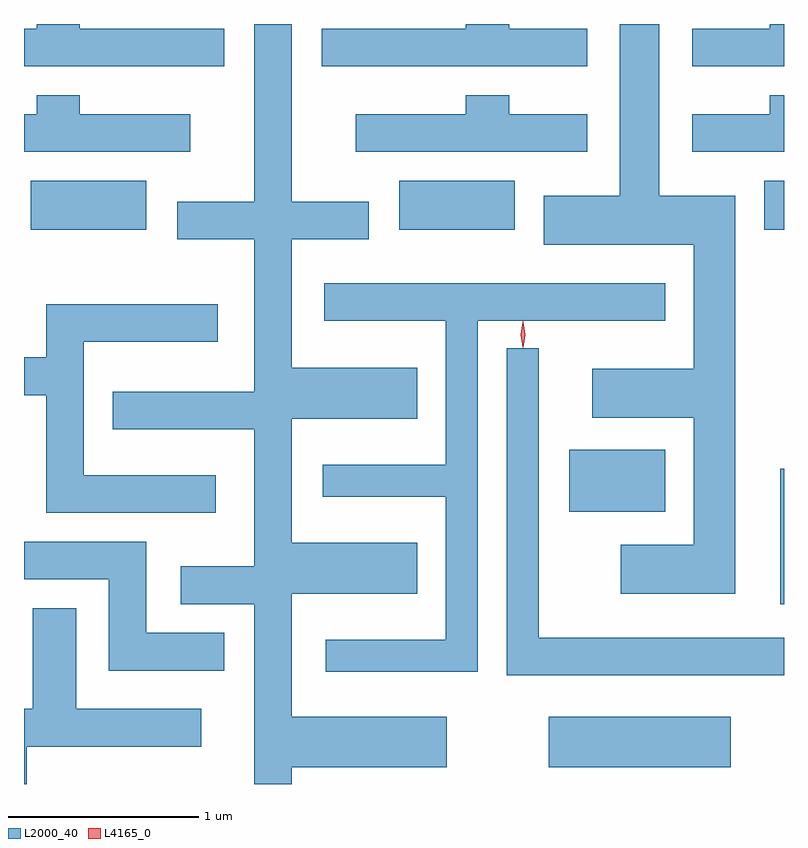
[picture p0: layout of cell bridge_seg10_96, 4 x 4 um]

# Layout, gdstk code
import gdstk
lib = gdstk.Library(unit=1e-6, precision=1e-09)
def R(c, l, rs):  # rectangles x0, y0, x1, y1
    for r in rs: c.add(gdstk.rectangle(r[:2], r[2:], *l))
def P(c, l, *ps):  # polygons
    for p in ps: c.add(gdstk.Polygon(p, *l))
L2000_40 = (2000, 40)
L4165_0 = (4165, 0)

bridge_seg10_96 = lib.new_cell('bridge_seg10_96')
R(bridge_seg10_96, L2000_40, [(1689.021,2139.966,1689.979,2140.234), (1690.241,2140.826,1690.26,2141.539), (1689.131,2141.311,1689.634,2141.639), (1686.296,2142.796,1686.904,2143.054), (1688.236,2142.796,1688.844,2143.054), (1690.156,2142.796,1690.26,2143.054)])
P(bridge_seg10_96, L2000_40, [(1689.224,2143.854),(1688.814,2143.854),(1688.814,2143.879),(1688.586,2143.879),(1688.586,2143.854),(1687.826,2143.854),(1687.826,2143.656),(1689.224,2143.656)],
  [(1690.004,2142.974),(1689.604,2142.974),(1689.604,2143.879),(1689.396,2143.879),(1689.396,2142.974),(1688.996,2142.974),(1688.996,2142.716),(1689.786,2142.716),(1689.786,2142.064),(1689.251,2142.064),(1689.251,2141.806),(1689.786,2141.806),(1689.786,2141.139),(1689.401,2141.139),(1689.401,2140.881),(1690.004,2140.881)],
  [(1687.314,2143.854),(1686.554,2143.854),(1686.554,2143.879),(1686.326,2143.879),(1686.326,2143.854),(1686.26,2143.854),(1686.26,2143.656),(1687.314,2143.656)],
  [(1690.26,2143.879),(1690.186,2143.879),(1690.186,2143.854),(1689.776,2143.854),(1689.776,2143.656),(1690.26,2143.656)],
  [(1689.224,2143.404),(1688.814,2143.404),(1688.814,2143.504),(1688.586,2143.504),(1688.586,2143.404),(1688.006,2143.404),(1688.006,2143.206),(1689.224,2143.206)],
  [(1687.134,2143.404),(1686.554,2143.404),(1686.554,2143.504),(1686.326,2143.504),(1686.326,2143.404),(1686.26,2143.404),(1686.26,2143.206),(1687.134,2143.206)],
  [(1690.26,2143.504),(1690.186,2143.504),(1690.186,2143.404),(1689.776,2143.404),(1689.776,2143.206),(1690.26,2143.206)],
  [(1688.649,2142.316),(1689.634,2142.316),(1689.634,2142.514),(1687.841,2142.514),(1687.841,2142.316),(1688.481,2142.316),(1688.481,2141.559),(1687.833,2141.559),(1687.833,2141.391),(1688.481,2141.391),(1688.481,2140.639),(1687.848,2140.639),(1687.848,2140.471),(1688.649,2140.471)],
  [(1687.269,2141.504),(1686.574,2141.504),(1686.574,2142.206),(1687.279,2142.206),(1687.279,2142.404),(1686.376,2142.404),(1686.376,2142.124),(1686.26,2142.124),(1686.26,2141.926),(1686.376,2141.926),(1686.376,2141.306),(1687.269,2141.306)],
  [(1690.26,2140.649),(1688.969,2140.649),(1688.969,2142.173),(1688.801,2142.173),(1688.801,2140.451),(1690.26,2140.451)],
  [(1687.314,2140.674),(1686.904,2140.674),(1686.904,2141.154),(1686.26,2141.154),(1686.26,2140.956),(1686.706,2140.956),(1686.706,2140.476),(1687.314,2140.476)],
  [(1686.274,2140.076),(1687.194,2140.076),(1687.194,2140.274),(1686.534,2140.274),(1686.534,2140.804),(1686.306,2140.804),(1686.306,2140.274),(1686.26,2140.274),(1686.26,2139.879),(1686.274,2139.879)],
  [(1688.329,2140.881),(1688.329,2141.149),(1687.669,2141.149),(1687.669,2141.801),(1688.329,2141.801),(1688.329,2142.069),(1687.669,2142.069),(1687.669,2142.746),(1688.074,2142.746),(1688.074,2142.944),(1687.669,2142.944),(1687.669,2143.879),(1687.471,2143.879),(1687.471,2142.944),(1687.066,2142.944),(1687.066,2142.746),(1687.471,2142.746),(1687.471,2141.944),(1686.726,2141.944),(1686.726,2141.746),(1687.471,2141.746),(1687.471,2141.024),(1687.086,2141.024),(1687.086,2140.826),(1687.471,2140.826),(1687.471,2139.879),(1687.669,2139.879),(1687.669,2139.966),(1688.484,2139.966),(1688.484,2140.234),(1687.669,2140.234),(1687.669,2140.881)])
P(bridge_seg10_96, L4165_0, [(1688.888,2142.174),(1688.887,2142.175),(1688.878,2142.244),(1688.887,2142.313),(1688.888,2142.314),(1688.888,2142.313),(1688.898,2142.244),(1688.888,2142.175)],
  [(1688.884,2142.178),(1688.884,2142.178),(1688.874,2142.244),(1688.884,2142.311),(1688.884,2142.311),(1688.884,2142.311),(1688.894,2142.244),(1688.884,2142.178)])

lib.write_gds('bridge_seg10_96.gds')
